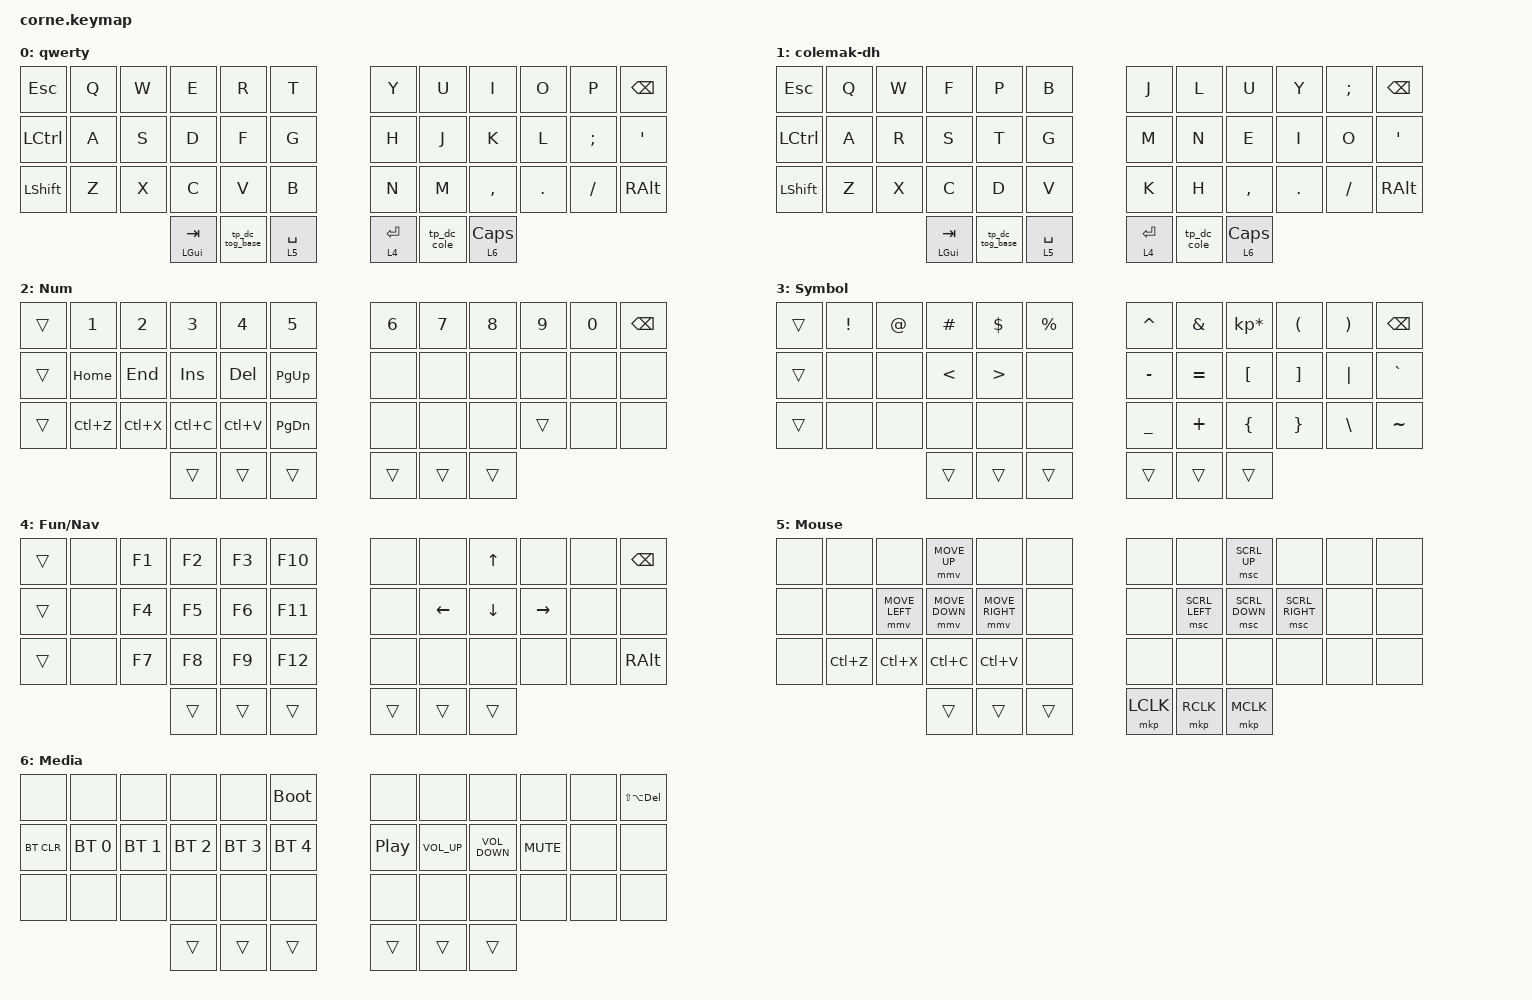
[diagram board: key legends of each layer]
/*
 * Copyright (c) 2020 The ZMK Contributors
 *
 * SPDX-License-Identifier: MIT
 */

#include <behaviors.dtsi>
#include <dt-bindings/zmk/bt.h>
#include <dt-bindings/zmk/keys.h>
#include <dt-bindings/zmk/pointing.h>

&lt { tapping-term-ms = <190>; };

&mt { tapping-term-ms = <190>; };

/ {
    combos { compatible = "zmk,combos"; };

    behaviors {
        tp_dc_tog_base: tp_dc_tog_base {
            compatible = "zmk,behavior-tap-dance";
            label = "TP_DC_TOG_BASE";
            #binding-cells = <0>;
            bindings = <&mo 2>, <&tog 0>;

            tapping-term-ms = <180>;
        };

        tp_dc_cole: tp_dc_cole {
            compatible = "zmk,behavior-tap-dance";
            label = "TP_DC_COLE";
            #binding-cells = <0>;
            bindings = <&mo 3>, <&tog 1>;
        };
    };

    keymap {
        compatible = "zmk,keymap";

        default_layer_qwerty {
            // -----------------------------------------------------------------------------------------
            // |  ESC |  Q  |  W  |  E  |  R  |  T  |   |  Y  |  U   |  I  |  O  |  P  | BKSP |
            // | CTRL |  A  |  S  |  D  |  F  |  G  |   |  H  |  J   |  K  |  L  |  ;  |  '   |
            // | SHFT |  Z  |  X  |  C  |  V  |  B  |   |  N  |  M   |  ,  |  .  |  /  | ALT  |
            //                    | GUI | NUM | SPC |   | ENT | SYM  | MDA |

            display-name = "qwerty";
            bindings = <
&kp ESCAPE  &kp Q  &kp W  &kp E         &kp R            &kp T          &kp Y      &kp U        &kp I           &kp O    &kp P     &kp BSPC
&kp LCTRL   &kp A  &kp S  &kp D         &kp F            &kp G          &kp H      &kp J        &kp K           &kp L    &kp SEMI  &kp SQT
&kp LSHFT   &kp Z  &kp X  &kp C         &kp V            &kp B          &kp N      &kp M        &kp COMMA       &kp DOT  &kp FSLH  &kp RIGHT_ALT
                          &mt LGUI TAB  &tp_dc_tog_base  &lt 5 SPACE    &lt 4 RET  &tp_dc_cole  &lt 6 CAPSLOCK
            >;
        };

        Colemak-DH_Layer {
   // -----------------------------------------------------------------------------------------
            // |  ESC |  Q  |  W  |  F  |  P  |  B  |   |  J  |  L   |  U  |  Y  |  ;  | BKSP |
            // | CTRL |  A  |  R  |  S  |  T  |  G  |   |  M  |  N   |  E  |  I  |  O  |  '   |
            // | SHFT |  Z  |  X  |  C  |  D  |  V  |   |  K  |  H   |  ,  |  .  |  /  | ALT  |
            //                    | GUI | NUM | SPC |   | ENT | SYM  | MDA |
            display-name = "colemak-dh";
            bindings = <
&kp ESCAPE  &kp Q  &kp W  &kp F         &kp P            &kp B          &kp J      &kp L        &kp U           &kp Y    &kp SEMI  &kp BSPC
&kp LCTRL   &kp A  &kp R  &kp S         &kp T            &kp G          &kp M      &kp N        &kp E           &kp I    &kp O     &kp APOS
&kp LSHFT   &kp Z  &kp X  &kp C         &kp D            &kp V          &kp K      &kp H        &kp COMMA       &kp DOT  &kp FSLH  &kp RIGHT_ALT
                          &mt LGUI TAB  &tp_dc_tog_base  &lt 5 SPACE    &lt 4 RET  &tp_dc_cole  &lt 6 CAPSLOCK
            >;
        };

        NumNav_layer {
            // -----------------------------------------------------------------------------------------
            // |  ESC |  1  |  2  |  3  |  4  |  5  |   |  6  |  7  |  8  |  9  |  0  | BKSP |
            // | CTRL | HOME| END | INS | DEL | PGUP|   |     |     |     |     |     |      |
            // | SHFT | UNDO| CUT | CPY | PST | PGDN|   |     |     |     |     |     |      |
            //                    | GUI | NUM | SPC |   | ENT | SYM  | MDA |

            display-name = "Num";
            bindings = <
&trans  &kp N1     &kp N2     &kp N3     &kp N4     &kp N5           &kp N6  &kp N7  &kp N8  &kp N9  &kp N0  &kp BSPC
&trans  &kp HOME   &kp END    &kp INS    &kp DEL    &kp PAGE_UP      &none   &none   &none   &none   &none   &none
&trans  &kp LC(Z)  &kp LC(X)  &kp LC(C)  &kp LC(V)  &kp PAGE_DOWN    &none   &none   &none   &trans  &none   &none
                              &trans     &trans     &trans           &trans  &trans  &trans
            >;
        };

        Symbol_layer {
            // -----------------------------------------------------------------------------------------
            // |  TAB |  !  |  @  |  #  |  $  |  %  |   |  ^  |  &  |  *  |  (  |  )  | BKSP |
            // | CTRL |     |     |  <  |  >  |     |   |  -  |  =  |  [  |  ]  | "|" |  `   |
            // | SHFT |     |     |     |     |     |   |  _  |  +  |  {  |  }  |  \  |  ~   |
            //                    | GUI | NUM | SPC |   | ENT | SYM  | MDA |

            display-name = "Symbol";
            bindings = <
&trans  &kp EXCL  &kp AT  &kp HASH       &kp DLLR          &kp PRCNT    &kp CARET  &kp AMPS   &kp KP_MULTIPLY  &kp LPAR  &kp RPAR       &kp BSPC
&trans  &none     &none   &kp LESS_THAN  &kp GREATER_THAN  &none        &kp MINUS  &kp EQUAL  &kp LBKT         &kp RBKT  &kp PIPE       &kp GRAVE
&trans  &none     &none   &none          &none             &none        &kp UNDER  &kp PLUS   &kp LBRC         &kp RBRC  &kp BACKSLASH  &kp TILDE
                          &trans         &trans            &trans       &trans     &trans     &trans
            >;
        };

        Func_Nav_Layer {
            // -----------------------------------------------------------------------------------------
            // |  ESC |    |  F1  |  F2  | F3  | F10 |   |     |      |  UP  |       |     | BKSP |
            // | CTRL |    |  F4  |  F5  | F6  | F11 |   |     | LEFT | DOWN | RIGHT |     |      |
            // | SHFT |    |  F7  |  F8  | F9  | F12 |   |     |      |      |       |     |  ALT |
            //                    | GUI  | NUM | SPC |   | ENT | SYM  | MDA  |
            display-name = "Fun/Nav";
            bindings = <
&trans  &none  &kp F1  &kp F2  &kp F3  &kp F10    &none   &none           &kp UP_ARROW    &none      &none  &kp BACKSPACE
&trans  &none  &kp F4  &kp F5  &kp F6  &kp F11    &none   &kp LEFT_ARROW  &kp DOWN_ARROW  &kp RIGHT  &none  &none
&trans  &none  &kp F7  &kp F8  &kp F9  &kp F12    &none   &none           &none           &none      &none  &kp RALT
                       &trans  &trans  &trans     &trans  &trans          &trans
            >;
        };

        Mouse_Layer {
            // -----------------------------------------------------------------------------------------
            // |    |    |      | M_UP |      |     |   |     |       | SC_UP |       |     |      |
            // |    |    | M_LF | M_DN | M_RI |     |   |     | SC_LF | SC_DN | SC_RI |     |      |
            // |    |    | UNDO | CUT  | CPY  | PST |   |     |       |       |       |     |      |
            //                  |      |      |     |         | LCLK  | RCLK  | MCLK  |
            bindings = <
&none  &none      &none           &mmv MOVE_UP    &none            &none     &none      &none           &msc SCRL_UP    &none            &none  &none
&none  &none      &mmv MOVE_LEFT  &mmv MOVE_DOWN  &mmv MOVE_RIGHT  &none     &none      &msc SCRL_LEFT  &msc SCRL_DOWN  &msc SCRL_RIGHT  &none  &none
&none  &kp LC(Z)  &kp LC(X)       &kp LC(C)       &kp LC(V)        &none     &none      &none           &none           &none            &none  &none
                                  &trans          &trans           &trans    &mkp LCLK  &mkp RCLK       &mkp MCLK
            >;

            label = "Mouse";
        };

        Media {
            // -----------------------------------------------------------------------------------------
            // |      |     |     |     |     |      |   |     |       | SC_UP |       |      |      |
            // |BT_CLR| BT0 | BT1 | BT2 | BT3 | BT4  |   |     | PAUSE | VOL_UP| VOL_DN| MUTE |      |
            // |      |     |     |     |     |      |   |     |       |       |       |      |      |
            //                    | GUI  | NUM | SPC |   | ENT |  SYM  |  MDA  |
            display-name = "Media";
            bindings = <
&none       &none         &none         &none         &none         &bootloader     &none             &none            &none              &none       &none  &kp LS(LA(DEL))
&bt BT_CLR  &bt BT_SEL 0  &bt BT_SEL 1  &bt BT_SEL 2  &bt BT_SEL 3  &bt BT_SEL 4    &kp C_PLAY_PAUSE  &kp C_VOLUME_UP  &kp C_VOLUME_DOWN  &kp C_MUTE  &none  &none
&none       &none         &none         &none         &none         &none           &none             &none            &none              &none       &none  &none
                                        &trans        &trans        &trans          &trans            &trans           &trans
            >;
        };
    };
};
